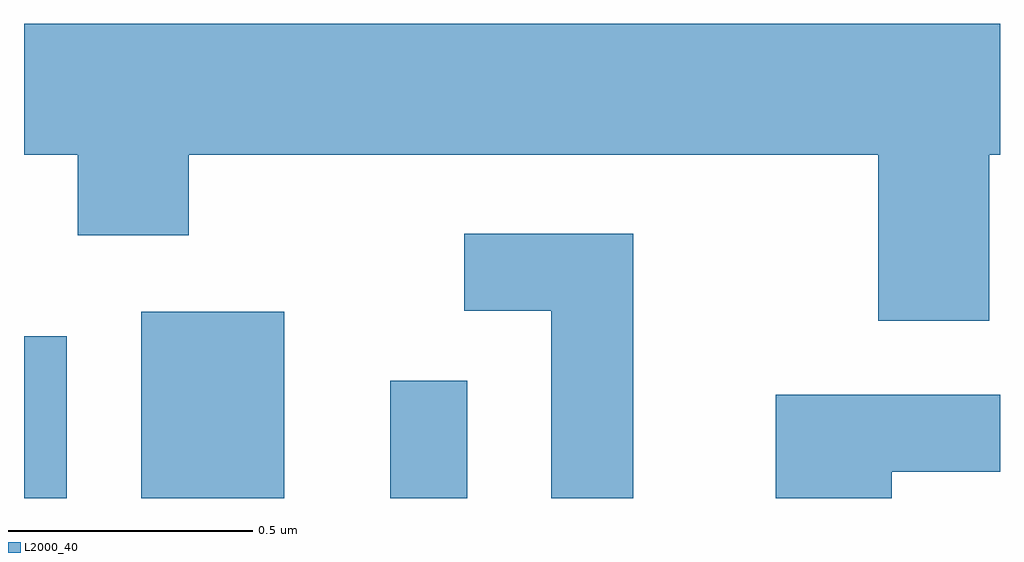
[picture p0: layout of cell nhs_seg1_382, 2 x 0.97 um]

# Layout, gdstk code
import gdstk
lib = gdstk.Library(unit=1e-6, precision=1e-09)
def R(c, l, rs):  # rectangles x0, y0, x1, y1
    for r in rs: c.add(gdstk.rectangle(r[:2], r[2:], *l))
def P(c, l, *ps):  # polygons
    for p in ps: c.add(gdstk.Polygon(p, *l))
L2000_40 = (2000, 40)

nhs_seg1_382 = lib.new_cell('nhs_seg1_382')
R(nhs_seg1_382, L2000_40, [(187.611,947.712,187.699,948.044), (187.851,947.712,188.144,948.094), (188.361,947.712,188.519,947.953)])
P(nhs_seg1_382, L2000_40, [(189.589,948.416),(189.611,948.416),(189.611,948.684),(187.611,948.684),(187.611,948.416),(187.721,948.416),(187.721,948.251),(187.949,948.251),(187.949,948.416),(189.361,948.416),(189.361,948.076),(189.589,948.076)],
  [(188.859,948.254),(188.513,948.254),(188.513,948.096),(188.691,948.096),(188.691,947.712),(188.859,947.712)],
  [(189.389,947.766),(189.611,947.766),(189.611,947.924),(189.151,947.924),(189.151,947.712),(189.389,947.712)])

lib.write_gds('nhs_seg1_382.gds')
